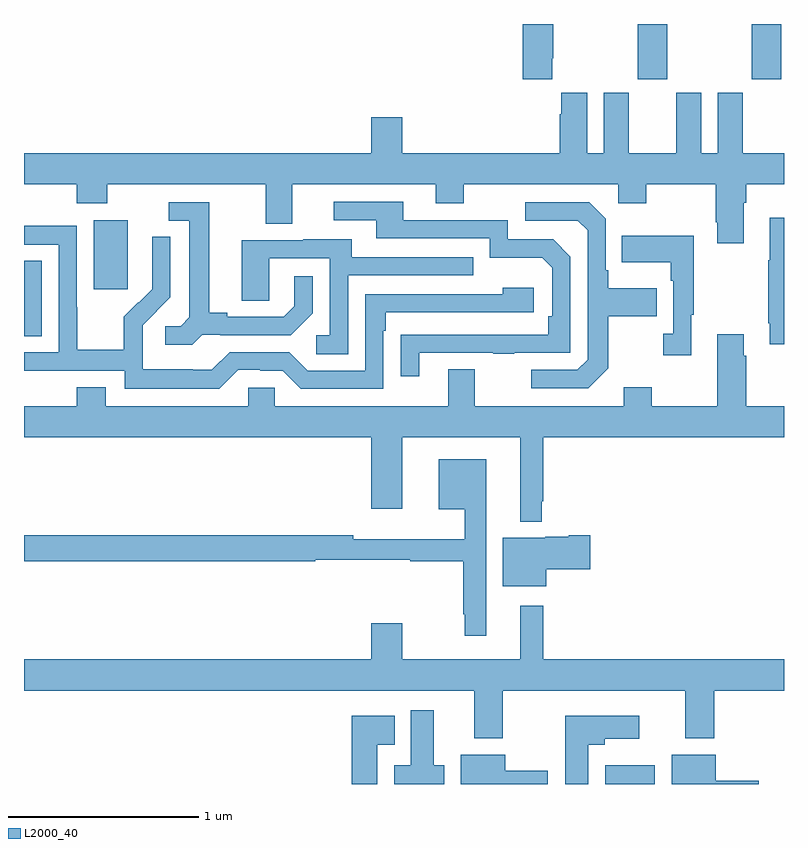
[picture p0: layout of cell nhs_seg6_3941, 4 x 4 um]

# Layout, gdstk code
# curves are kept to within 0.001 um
import gdstk
lib = gdstk.Library(unit=1e-6, precision=1e-09)
def R(c, l, rs):  # rectangles x0, y0, x1, y1
    for r in rs: c.add(gdstk.rectangle(r[:2], r[2:], *l))
def P(c, l, *ps):  # polygons
    for p in ps: c.add(gdstk.Polygon(p, *l))
L2000_40 = (2000, 40)

nhs_seg6_3941 = lib.new_cell('nhs_seg6_3941')
R(nhs_seg6_3941, L2000_40, [(346.058,957.5,346.321,957.598), (343,959.857,343.093,960.254), (343.367,960.105,343.546,960.466), (346.231,961.209,346.386,961.5), (346.831,961.209,346.986,961.5)])
P(nhs_seg6_3941, L2000_40, [(345.781,961.321),(345.786,961.321),(345.786,961.5),(345.626,961.5),(345.626,961.209),(345.781,961.209)],
  [(346.128,960.557),(346.275,960.557),(346.275,960.656),(346.642,960.656),(346.642,960.457),(346.649,960.457),(346.649,960.345),(346.789,960.345),(346.789,960.56),(346.802,960.56),(346.802,960.656),(347,960.656),(347,960.82),(346.783,960.82),(346.783,961.138),(346.652,961.138),(346.652,960.82),(346.564,960.82),(346.564,961.138),(346.433,961.138),(346.433,960.82),(346.183,960.82),(346.183,961.138),(346.052,961.138),(346.052,960.82),(345.964,960.82),(345.964,961.138),(345.827,961.138),(345.827,961.025),(345.821,961.025),(345.821,960.82),(344.992,960.82),(344.992,961.009),(344.828,961.009),(344.828,960.82),(343,960.82),(343,960.656),(343.277,960.656),(343.277,960.557),(343.437,960.557),(343.437,960.656),(344.273,960.656),(344.273,960.448),(344.413,960.448),(344.413,960.656),(345.167,960.656),(345.167,960.557),(345.315,960.557),(345.315,960.656),(346.128,960.656)],
  [(345.079,959.769),(345.469,959.769),(345.469,959.764),(345.581,959.764),(345.581,959.769),(345.876,959.769),(345.876,960.276),(345.786,960.366),(345.546,960.366),(345.546,960.468),(344.995,960.468),(344.995,960.564),(344.631,960.564),(344.631,960.468),(344.855,960.468),(344.855,960.372),(345.45,960.372),(345.45,960.269),(345.727,960.269),(345.78,960.216),(345.78,959.962),(345.76,959.962),(345.76,959.865),(344.983,959.864),(344.983,959.646),(345.079,959.646)],
  [(346.075,959.689),(346.075,959.962),(346.331,959.962),(346.331,960.109),(346.075,960.109),(346.075,960.205),(346.062,960.205),(346.062,960.474),(345.975,960.561),(345.639,960.561),(345.639,960.465),(345.915,960.465),(345.966,960.414),(345.966,959.733),(345.912,959.679),(345.669,959.679),(345.669,959.583),(345.969,959.583)],
  [(343.938,959.865),(344.032,959.865),(344.032,959.862),(344.404,959.862),(344.52,959.978),(344.52,960.172),(344.423,960.172),(344.423,960.015),(344.366,959.958),(344.071,959.958),(344.071,959.981),(343.975,959.981),(343.975,960.561),(343.761,960.561),(343.761,960.465),(343.871,960.465),(343.871,959.957),(343.824,959.91),(343.743,959.91),(343.743,959.813),(343.886,959.813)],
  [(347,960.481),(346.925,960.481),(346.925,960.257),(346.918,960.257),(346.918,959.926),(346.925,959.926),(346.925,959.814),(347,959.814)],
  [(344.127,959.679),(344.243,959.679),(344.243,959.676),(344.361,959.676),(344.457,959.58),(344.892,959.58),(344.892,959.885),(344.905,959.885),(344.905,959.982),(345.682,959.982),(345.682,960.112),(345.521,960.112),(345.521,960.078),(344.796,960.078),(344.796,959.676),(344.493,959.676),(344.397,959.772),(344.082,959.772),(343.989,959.679),(343.889,959.679),(343.889,959.683),(343.626,959.683),(343.626,959.817),(343.624,959.817),(343.624,959.914),(343.77,960.062),(343.77,960.38),(343.674,960.38),(343.674,960.226),(343.676,960.226),(343.676,960.104),(343.605,960.033),(343.602,960.036),(343.525,959.959),(343.525,959.785),(343.281,959.785),(343.281,960.008),(343.278,960.008),(343.278,960.438),(343,960.438),(343,960.339),(343.182,960.339),(343.182,959.772),(343,959.772),(343,959.676),(343.53,959.676),(343.53,959.579),(344.027,959.579)],
  [(346.513,959.969),(346.525,959.969),(346.525,960.385),(346.147,960.385),(346.147,960.245),(346.404,960.245),(346.404,960.149),(346.416,960.149),(346.416,959.87),(346.365,959.87),(346.365,959.757),(346.513,959.757)],
  [(344.706,960.177),(345.365,960.177),(345.365,960.273),(344.725,960.273),(344.725,960.367),(344.471,960.367),(344.471,960.363),(344.147,960.363),(344.147,960.043),(344.292,960.043),(344.292,960.267),(344.61,960.267),(344.61,959.862),(344.538,959.862),(344.538,959.761),(344.706,959.761)],
  [(345.725,958.987),(345.733,958.987),(345.733,959.324),(347,959.324),(347,959.488),(346.802,959.488),(346.802,959.753),(346.789,959.753),(346.789,959.866),(346.649,959.866),(346.649,959.488),(346.305,959.488),(346.305,959.587),(346.157,959.587),(346.157,959.488),(345.373,959.488),(345.373,959.683),(345.233,959.683),(345.233,959.488),(344.319,959.488),(344.319,959.586),(344.181,959.586),(344.181,959.488),(343.429,959.488),(343.429,959.587),(343.277,959.587),(343.277,959.488),(343,959.488),(343,959.324),(344.828,959.324),(344.828,958.95),(344.992,958.95),(344.992,959.324),(345.611,959.324),(345.611,958.88),(345.725,958.88)],
  [(345.433,959.209),(345.182,959.209),(345.182,958.946),(345.319,958.946),(345.319,958.789),(344.732,958.789),(344.732,958.808),(343,958.808),(343,958.672),(344.533,958.672),(344.533,958.68),(345.033,958.68),(345.033,958.672),(345.312,958.672),(345.312,958.393),(345.319,958.393),(345.319,958.281),(345.433,958.281)],
  [(345.748,958.63),(345.979,958.63),(345.979,958.808),(345.866,958.808),(345.866,958.801),(345.744,958.801),(345.744,958.795),(345.521,958.795),(345.521,958.541),(345.748,958.541)],
  [(345.519,957.992),(346.481,957.992),(346.481,957.74),(346.634,957.74),(346.634,957.992),(347,957.992),(347,958.156),(345.733,958.156),(345.733,958.438),(345.611,958.438),(345.611,958.156),(344.992,958.156),(344.992,958.345),(344.828,958.345),(344.828,958.156),(343,958.156),(343,957.992),(345.371,957.992),(345.371,957.74),(345.519,957.74)],
  [(345.211,957.598),(345.157,957.598),(345.157,957.889),(345.035,957.889),(345.035,957.598),(344.948,957.598),(344.948,957.5),(345.211,957.5)],
  [(344.86,957.707),(344.95,957.707),(344.95,957.859),(344.726,957.859),(344.726,957.5),(344.86,957.5)],
  [(345.97,957.707),(346.057,957.707),(346.057,957.737),(346.237,957.737),(346.237,957.859),(345.848,957.859),(345.848,957.5),(345.97,957.5)],
  [(346.867,957.516),(346.642,957.516),(346.642,957.655),(346.409,957.655),(346.409,957.5),(346.867,957.5)],
  [(345.757,957.57),(345.532,957.57),(345.532,957.655),(345.299,957.655),(345.299,957.5),(345.757,957.5)])

lib.write_gds('nhs_seg6_3941.gds')
